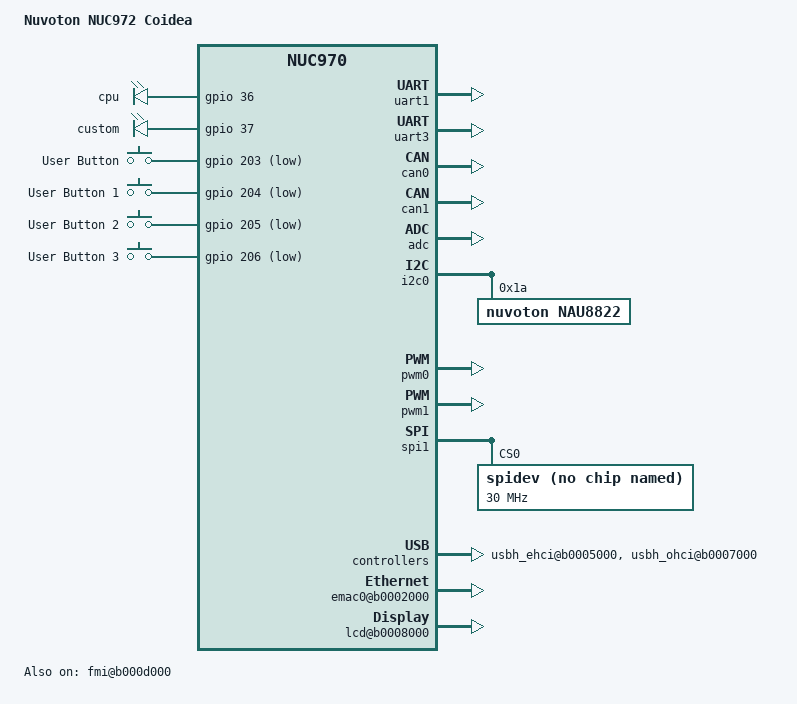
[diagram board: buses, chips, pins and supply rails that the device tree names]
/*
 * nuc972-evb.dts - Device Tree file for Nuvoton NUC972 EVB board
 *
 * Copyright (C) 2015 Tanshi Li <chuncky@sohu.com>
 *
 * Licensed under GPLv2.
 */
/dts-v1/;
/include/ "nuc970.dtsi"
/* /include/ "nuc972.dtsi" */

/ {
	model = "Nuvoton NUC972 Coidea";
	compatible = "nuvoton,nuc972-coidea", "nuvoton,nuc972-evb", "nuvoton,nuc972", "nuvoton,nuc970";

	chosen {
		bootargs = "noinitrd console=ttyS0,115200 ubi.mtd=2 root=ubi0:rootfs rootfstype=ubifs mtdparts=nand0:0x200000@0x0(u-boot),0x1E00000@0x200000(kernel),-(rootfs) rdinit=/sbin/init mem=64M lpj=744448";
	};

	apb {
		uart1: serial@b8000100 {
			status = "okay";
		};

		uart2: serial@b8000200 {
			status = "disabled";
		};

		uart3: serial@b8000300 {
			status = "okay";
		};

		uart4: serial@b8000400 {
			status = "disabled";
		};

		can0: can@b800b000 {
			status = "okay";
		};

		can1: can@b800b400 {
			status = "okay";
		};

		kpi: kpi@b8008000 {
			status = "disabled";
		};

		rtc: rtc@b8004000 {
			status = "okay";
		};

		jpeg: jpeg@b000a000 {
			status = "okay";
		};

		adc: adc@b800a000 {
			keypad-status = "disabled";
			touch-status = "okay";
			status = "okay";
		};
		
		nadc: nadc@b800a000 {
			status = "disabled";
		};

		i2c_gpio@0 {
			status = "disabled";
		};

		i2c0: i2c0@b8006000 {
			status = "okay";

			nau8822: nau8822@1a {
				compatible = "nuvoton,nau8822";
				reg = <0x1a> ;
			};
		};

		i2c1: i2c1@b8006100 {
			status = "disabled";
		};

		pwm0: pwm0@b8007000 {
			pinctrl-names = "default";
			pinctrl-0 = <&pinctrl_pwm0_PB>;
			status = "okay";
		};

		pwm1: pwm1@b8007000 {
			pinctrl-names = "default";
			pinctrl-0 = <&pinctrl_pwm1_PB>;
			status = "okay";
		};

		pwm2: pwm2@b8007000 {
			status = "disabled";
		};

		pwm3: pwm3@b8007000 {
			status = "disabled";
		};

		spi0: spi0@b8006200 {
			status = "disabled";
			#address-cells = <1>;
			#size-cells = <0>;

			num_cs  = <2>;
			lsb	 = <0>;
			txneg   = <1>;
			rxneg   = <0>;
			divider = <4>;
			sleep   = <0>;
			txnum   = <0>;
			txbitlen = <8>;
			bus_num	= <0>;

			flash: m25p80@0 {
				compatible = "w25q128";
				#address-cells = <1>;
				#size-cells = <1>;
				reg = <0>;
				spi-max-frequency = <12000000>;

				partition@0 {
					label = "kernel";
					reg = <0x00000000 0x0800000>;
				};
				partition@1 {
					label = "rootfs";
					reg = <0x0800000 0x0800000>;
				};
			};
		};

		spi1: spi1@b8006300 {
			status = "okay";
			#address-cells = <1>;
			#size-cells = <0>;

			num_cs  = <2>;
			lsb	 = <0>;
			txneg   = <1>;
			rxneg   = <0>;
			divider = <4>;
			sleep   = <0>;
			txnum   = <0>;
			txbitlen = <8>;
			bus_num	= <1>;

			spidev@0x01 {
				compatible = "spidev";
				spi-max-frequency = <30000000>;
				reg = <0>;
			};
		};
		
		gpio: gpio@b8003000 {
			#gpio-cells = <2>;
			#interrupt-cells = <2>;	
			eint0-config = <0 1 0>;
			eint1-config = <0 1 0>;
			eint2-config = <0 1 0>;
			eint3-config = <0 1 0>;
			eint4-config = <0 1 0>;
			eint5-config = <0 1 0>;
			eint6-config = <0 1 0>;
			eint7-config = <0 1 0>;			
			status = "okay";
		};
		
		pinctrl: pinctrl@b0000000 {
		
			leds{
				pinctrl_leds: ledgrp {
					nuvoton,pins = <
						1 4 0 0
						1 5 0 0
					>;
				};
			};

			gpio_keys{
				pinctrl_gpio_key: keygrp {
					nuvoton,pins = <
						5 0xa 0 0
						5 0xb 0 0
						5 0xc 0 0
						5 0xd 0 0
					>;
				};
			};		
		};

		
		leds {
			compatible = "gpio-leds";
			pinctrl-names = "default";
			pinctrl-0 = <&pinctrl_leds>;

			led0 {
				label = "cpu";
				gpios = <&gpio 36 0>;
				default-state = "on";
				linux,default-trigger = "heartbeat";
			};
			
			led1 {
				label = "custom";
				gpios = <&gpio 37 0>;
				default-state = "on";
				linux,default-trigger = "heartbeat";
			};
						
		};

		gpio-keys {
			compatible = "gpio-keys";
			pinctrl-names = "default";
			pinctrl-0 = <&pinctrl_gpio_key>;
			
			user {
				label = "User Button";
				gpios = <&gpio 203 1>;
				gpio-key,wakeup;
				linux,code = <1>;
			};
			
			user1 {
				label = "User Button 1";
				gpios = <&gpio 204 1>;
				gpio-key,wakeup;
				linux,code = <2>;
			};
			
			user2 {
				label = "User Button 2";
				gpios = <&gpio 205 1>;
				gpio-key,wakeup;
				linux,code = <3>;
			};
			
			user3 {
				label = "User Button 3";
				gpios = <&gpio 206 1>;
				gpio-key,wakeup;
				linux,code = <3>;
			};
		};
		
	};

	ahb {
		usbh_ehci@b0005000 {
		    pm_vbus_off = <0>;
			status = "okay";
		};
		usbh_ohci@b0007000{
			status = "okay";
		};

		crypto@b000f000{
			status = "okay";
		};

		usbdev@b0006000 {
			status = "disabled";
		};
		fmi@b000d000 {
			compatible = "nuvoton,nuc970-fmi", "nand0";
			pinctrl-names = "default";
			pinctrl-0 = <&pinctrl_nand_pc>;
			status = "okay";
			#address-cells = <1>;
			#size-cells = <1>;

			partition@0x0 {
				label = "u-boot";
				reg = <0x00000000 0x0200000>;
			};

			partition@0x200000 {
				label = "Kernel";
				reg = <0x0200000 0x1400000>;
			};

			partition@0x1600000 {
				label = "user";
				reg = <0x1600000 0x6480000>;
			};
		};

		sdh@b000c000 {
			pinctrl-names = "default";
			pinctrl-0 = <&pinctrl_sd0>;
			status = "okay";
		};

		emac0@b0002000 {
			status = "okay";
		};
		cap@b000e000 {
			status = "disabled";
		};
		dma@b0004000 {
			status = "okay";
		};
		ebi@b0001000 {
			status = "disabled";
		};
		emac1@b0003000 {
			status = "disabled";
		};

		lcd@b0008000 {
			pinctrl-names = "default";
			pinctrl-0 = <&pinctrl_lcd_24bit>;
			status = "okay";
			type = <0x200>;
			bpp = <16>;
			width = <480>;
			height = <272>;
			xres = <480>;
			yres = <272>;
			pixclock = <20000000>;
			left_margin = <125>;
			right_margin = <115>;
			hsync_len = <64>;
			upper_margin = <70>;
			lower_margin = <36>;
			vsync_len = <6>;
			dccs = <0x0e00040a>;
			fbctrl = <0x00F000F0>;
			devctl = <0x070000c0>;
			scale = <0x04000400>;
			gpio_blen = <0xC3>;
			gpio_lcs = <0xC2>;

		};

		i2s: i2s@b0009000 {
			status = "disabled";
		};

		i2s_pcm: i2s_pcm {
			status = "disabled";
		};

		sound {
			compatible = "nuvoton,nuc970-audio";
			i2s-controller = <&i2s>;
			i2s-platform = <&i2s_pcm>;
		};

		ge2d@b000b000 {
			status = "okay";
		};
	};
};
